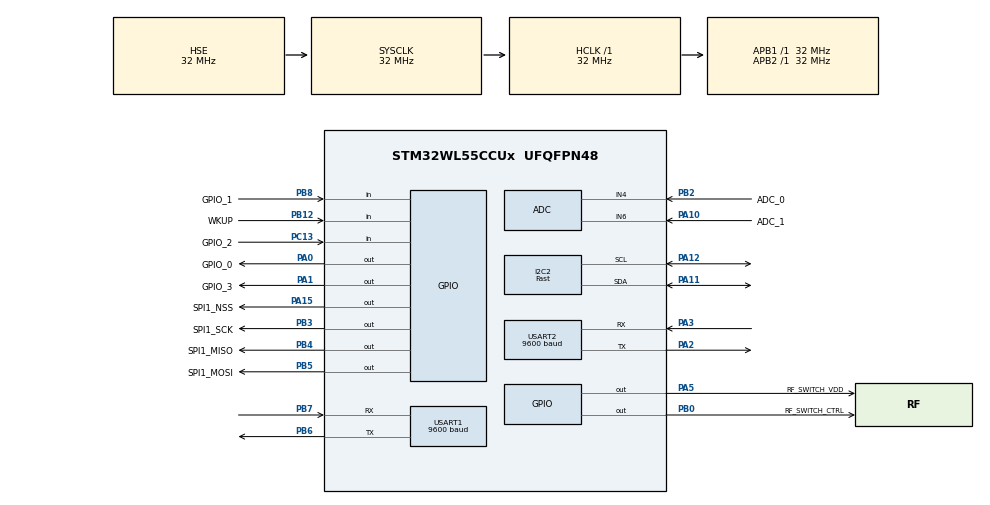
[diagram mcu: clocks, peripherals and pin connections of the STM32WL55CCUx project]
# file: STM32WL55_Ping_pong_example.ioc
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ADC.NbrOfConversion=1
ADC.SelectedChannel=ADC_CHANNEL_4|ADC_CHANNEL_6
FREERTOS.BinarySemaphores01=radioBinarySem,Static,radioBinarySemControlBlock;mainBinarySem,Static,mainBinarySemControlBlock
FREERTOS.Tasks01=radioTask,24,128,StartRadioTask,Default,NULL,Static,radioTaskBuffer,radioTaskControlBlock;mainTask,24,128,StartMainTask,Default,NULL,Static,mainTaskBuffer,mainTaskControlBlock
FREERTOS.Timers01=mainTimer,mainTimerCallback,osTimerPeriodic,Default,NULL,Static,mainTimerControlBlock
FREERTOS.configUSE_IDLE_HOOK=0
FREERTOS.configUSE_NEWLIB_REENTRANT=1
FREERTOS.configUSE_TICKLESS_IDLE=1
I2C2.I2C_Speed_Mode=I2C_Fast
I2C2.Timing=0x00300F38
LPTIM1.ClockPrescaler=LPTIM_PRESCALER_DIV1
Mcu.Family=STM32WL
Mcu.Name=STM32WL55CCUx
Mcu.Package=UFQFPN48
NVIC.PriorityGroup=NVIC_PRIORITYGROUP_4
NVIC.SUBGHZ_Radio_IRQn=true\:5\:0\:false\:false\:true\:true\:true\:true
NVIC.TIM17_IRQn=true\:15\:0\:false\:false\:true\:false\:false\:true
NVIC.TimeBase=TIM17_IRQn
NVIC.TimeBaseIP=TIM17
NVIC.USART1_IRQn=true\:5\:0\:false\:false\:true\:true\:true\:true
NVIC.USART2_IRQn=true\:5\:0\:false\:false\:true\:true\:true\:true
OSC_IN.Mode=HSE-External-Oscillator
OSC_IN.Signal=RCC_OSC_IN
OSC_OUT.Mode=HSE-External-Oscillator
OSC_OUT.Signal=RCC_OSC_OUT
PA0.GPIO_Label=GPIO_0
PA0.Signal=GPIO_Output
PA1.GPIO_Label=GPIO_3
PA1.Signal=GPIO_Output
PA10.GPIO_Label=ADC_1
PA10.Mode=IN6
PA10.Signal=ADC_IN6
PA11.Mode=I2C
PA11.Signal=I2C2_SDA
PA12.Mode=I2C
PA12.Signal=I2C2_SCL
PA13.Signal=DEBUG_JTMS-SWDIO
PA14.Signal=DEBUG_JTCK-SWCLK
PA15.GPIO_Label=SPI1_NSS
PA15.Signal=GPIO_Output
PA2.Mode=Asynchronous
PA2.Signal=USART2_TX
PA3.Mode=Asynchronous
PA3.Signal=USART2_RX
PA5.GPIO_Label=RF_SWITCH_VDD
PA5.Signal=GPIO_Output
PB0-VDD_TCXO.GPIO_Label=RF_SWITCH_CTRL
PB0-VDD_TCXO.Signal=GPIO_Output
PB12.GPIO_Label=WKUP
PB12.Signal=GPIO_Input
PB2.GPIO_Label=ADC_0
PB2.Mode=IN4
PB2.Signal=ADC_IN4
PB3.GPIO_Label=SPI1_SCK
PB3.Signal=GPIO_Output
PB4.GPIO_Label=SPI1_MISO
PB4.Signal=GPIO_Output
PB5.GPIO_Label=SPI1_MOSI
PB5.Signal=GPIO_Output
PB6.Mode=Asynchronous
PB6.Signal=USART1_TX
PB7.Mode=Asynchronous
PB7.Signal=USART1_RX
PB8.GPIO_Label=GPIO_1
PB8.Signal=GPIO_Input
PC13.GPIO_Label=GPIO_2
PC13.Signal=GPIO_Input
PC14-OSC32_IN.Mode=LSE-External-Oscillator
PC14-OSC32_IN.Signal=RCC_OSC32_IN
PC15-OSC32_OUT.Mode=LSE-External-Oscillator
PC15-OSC32_OUT.Signal=RCC_OSC32_OUT
ProjectManager.HeapSize=0x200
ProjectManager.StackSize=0x400
ProjectManager.TargetToolchain=STM32CubeIDE
RCC.AHBFreq_Value=32000000
RCC.APB1Freq_Value=32000000
RCC.APB1TimFreq_Value=32000000
RCC.APB2Freq_Value=32000000
RCC.APB2TimFreq_Value=32000000
RCC.APB3Freq_Value=32000000
RCC.CortexFreq_Value=32000000
RCC.HCLKFreq_Value=32000000
RCC.HSE_VALUE=32000000
RCC.HSI_VALUE=16000000
RCC.LSE_VALUE=32768
RCC.SYSCLKFreq_VALUE=32000000
RCC.SYSCLKSource=RCC_SYSCLKSOURCE_HSE
RCC.VCOOutputFreq_Value=32000000
SUBGHZ_PHY.TX_RFO_CONFIG=RBI_CONF_RFO_HP
USART1.BaudRate=9600
USART1.VirtualMode-Asynchronous=VM_ASYNC
USART2.BaudRate=9600
USART2.VirtualMode-Asynchronous=VM_ASYNC
VP_ADV_TRACE_VS_ADV_TRACE.Mode=ADV_TRACE_Enabled
VP_FREERTOS_VS_CMSIS_V2.Mode=CMSIS_V2
VP_LPTIM1_VS_LPTIM_counterModeInternalClock.Mode=Counts__internal_clock_event_00
VP_MISC_VS_MISC.Mode=MISC_Enabled
VP_RTC_VS_RTC_Activate.Mode=RTC_Enabled
VP_SUBGHZ_PHY_VS_SubGhzPhy.Mode=SubGhzPhy_Enabled
VP_SUBGHZ_VS_SUBGHZ.Mode=SUBGHZ_Activate
VP_SYS_VS_tim17.Mode=TIM17
VP_TIMER_VS_TIMER.Mode=TIMER_Enabled
VP_TINY_LPM_VS_TINY_LPM.Mode=TINY_LPM_Enabled
board=custom

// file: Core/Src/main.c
/* USER CODE BEGIN Header */
/**
 ******************************************************************************
 * @file           : main.c
 * @brief          : Main program body
 ******************************************************************************
 * @attention
 *
 * Copyright (c) 2022 STMicroelectronics.
 * All rights reserved.
 *
 * This software is licensed under terms that can be found in the LICENSE file
 * in the root directory of this software component.
 * If no LICENSE file comes with this software, it is provided AS-IS.
 *
 ******************************************************************************
 */
/* USER CODE END Header */
#include "main.h"
#include "cmsis_os.h"
#include "app_subghz_phy.h"

/* USER CODE BEGIN Includes */

#include <string.h>
#include "board_define.h"
#include "protocol.h"
#include "radio_pin_manager.h"

/* USER CODE END Includes */

typedef StaticTask_t osStaticThreadDef_t;
typedef StaticTimer_t osStaticTimerDef_t;
typedef StaticSemaphore_t osStaticSemaphoreDef_t;
/* USER CODE BEGIN PTD */

typedef enum {

	RADIO_TX_START = 0, RADIO_RX_START, RADIO_SLEEP

} radio_state_t;

/* USER CODE END PTD */

/* USER CODE BEGIN PD */

#define UART_BUFFER_SIZE 255
#define RADIO_TX_TIMEOUT_COUNT 1000
#define RADIO_RX_TIMEOUT_COUNT 1000

/* USER CODE END PD */

ADC_HandleTypeDef hadc;

I2C_HandleTypeDef hi2c2;

LPTIM_HandleTypeDef hlptim1;

RTC_HandleTypeDef hrtc;

SUBGHZ_HandleTypeDef hsubghz;

UART_HandleTypeDef huart1;
UART_HandleTypeDef huart2;

/* Definitions for radioTask */
osThreadId_t radioTaskHandle;
uint32_t radioTaskBuffer[128];
osStaticThreadDef_t radioTaskControlBlock;
const osThreadAttr_t radioTask_attributes = { .name = "radioTask", .stack_mem =
		&radioTaskBuffer[0], .stack_size = sizeof(radioTaskBuffer), .cb_mem =
		&radioTaskControlBlock, .cb_size = sizeof(radioTaskControlBlock),
		.priority = (osPriority_t) osPriorityNormal, };
/* Definitions for mainTask */
osThreadId_t mainTaskHandle;
uint32_t mainTaskBuffer[128];
osStaticThreadDef_t mainTaskControlBlock;
const osThreadAttr_t mainTask_attributes = { .name = "mainTask", .stack_mem =
		&mainTaskBuffer[0], .stack_size = sizeof(mainTaskBuffer), .cb_mem =
		&mainTaskControlBlock, .cb_size = sizeof(mainTaskControlBlock),
		.priority = (osPriority_t) osPriorityNormal, };
/* Definitions for mainTimer */
osTimerId_t mainTimerHandle;
osStaticTimerDef_t mainTimerControlBlock;
const osTimerAttr_t mainTimer_attributes = { .name = "mainTimer", .cb_mem =
		&mainTimerControlBlock, .cb_size = sizeof(mainTimerControlBlock), };
/* Definitions for radioBinarySem */
osSemaphoreId_t radioBinarySemHandle;
osStaticSemaphoreDef_t radioBinarySemControlBlock;
const osSemaphoreAttr_t radioBinarySem_attributes = { .name = "radioBinarySem",
		.cb_mem = &radioBinarySemControlBlock, .cb_size =
				sizeof(radioBinarySemControlBlock), };
/* Definitions for mainBinarySem */
osSemaphoreId_t mainBinarySemHandle;
osStaticSemaphoreDef_t mainBinarySemControlBlock;
const osSemaphoreAttr_t mainBinarySem_attributes = { .name = "mainBinarySem",
		.cb_mem = &mainBinarySemControlBlock, .cb_size =
				sizeof(mainBinarySemControlBlock), };
/* USER CODE BEGIN PV */

const uint16_t COMPANY_ID = 0x0000;
const uint16_t DEVICE_ID = 0x0000;

static uint8_t mac_address[MAC_ADDRESS_SIZE];

static uint16_t uart_tx_buffer_length = 0x00;
static uint8_t uart_tx_buffer[UART_BUFFER_SIZE] = { 0x00 };

static uint8_t radio_packet_protocol_size = 0;
static radio_packet_protocol_t radio_packet_protocol;

static volatile radio_state_t radio_state = RADIO_SLEEP;
static uint16_t radio_timer_count = 0;

static uint8_t radio_tx_buffer_size = 0;
static uint8_t radio_tx_buffer[128] = { 0x00 };

static int16_t radio_rx_rssi = 0;
static int8_t radio_rx_snr = 0;
static uint8_t radio_rx_buffer_size = 0;
static uint8_t radio_rx_buffer[128] = { 0x00 };

static uint8_t uart_2_data = 0x00;
static uint8_t uart_rx_buffer_size = 0;
static uint8_t uart_rx_buffer[128] = { 0x00 };

#ifdef EXAMPLE_TX

static volatile uint8_t cycle_timeout_count = 0;

#endif

/* USER CODE END PV */

void SystemClock_Config(void);
static void MX_GPIO_Init(void);
static void MX_LPTIM1_Init(void);
static void MX_RTC_Init(void);
static void MX_ADC_Init(void);
static void MX_I2C2_Init(void);
static void MX_USART1_UART_Init(void);
static void MX_USART2_UART_Init(void);
void StartRadioTask(void *argument);
void StartMainTask(void *argument);
void mainTimerCallback(void *argument);

int main(void) {

	/* MCU Configuration--------------------------------------------------------*/

	/* Reset of all peripherals, Initializes the Flash interface and the Systick. */
	HAL_Init();

	/* Configure the system clock */
	SystemClock_Config();

	/* Initialize all configured peripherals */
	MX_GPIO_Init();
	MX_SUBGHZ_Init();
	MX_LPTIM1_Init();
	MX_RTC_Init();
	MX_ADC_Init();
	MX_I2C2_Init();
	MX_USART1_UART_Init();
	MX_USART2_UART_Init();

	/* Init scheduler */
	osKernelInitialize();

	/* Create the semaphores(s) */
	/* creation of radioBinarySem */
	radioBinarySemHandle = osSemaphoreNew(1, 0, &radioBinarySem_attributes);

	/* creation of mainBinarySem */
	mainBinarySemHandle = osSemaphoreNew(1, 0, &mainBinarySem_attributes);

	/* Create the timer(s) */
	/* creation of mainTimer */
	mainTimerHandle = osTimerNew(mainTimerCallback, osTimerPeriodic, NULL,
			&mainTimer_attributes);

	/* Create the thread(s) */
	/* creation of radioTask */
	radioTaskHandle = osThreadNew(StartRadioTask, NULL, &radioTask_attributes);

	/* creation of mainTask */
	mainTaskHandle = osThreadNew(StartMainTask, NULL, &mainTask_attributes);

	/* Start scheduler */
	osKernelStart();

	/* We should never get here as control is now taken by the scheduler */
	/* Infinite loop */
	while (1) {

	}
}

void SystemClock_Config(void) {
	RCC_OscInitTypeDef RCC_OscInitStruct = { 0 };
	RCC_ClkInitTypeDef RCC_ClkInitStruct = { 0 };

	/** Configure the main internal regulator output voltage
	 */
	__HAL_PWR_VOLTAGESCALING_CONFIG(PWR_REGULATOR_VOLTAGE_SCALE1);
	/** Initializes the CPU, AHB and APB busses clocks
	 */
	RCC_OscInitStruct.OscillatorType = RCC_OSCILLATORTYPE_LSI
			| RCC_OSCILLATORTYPE_HSE;
	RCC_OscInitStruct.HSEState = RCC_HSE_ON;
	RCC_OscInitStruct.LSIDiv = RCC_LSI_DIV1;
	RCC_OscInitStruct.HSEDiv = RCC_HSE_DIV1;
	RCC_OscInitStruct.LSIState = RCC_LSI_ON;
	RCC_OscInitStruct.PLL.PLLState = RCC_PLL_NONE;
	if (HAL_RCC_OscConfig(&RCC_OscInitStruct) != HAL_OK) {
		Error_Handler();
	}
	/** Configure the SYSCLKSource, HCLK, PCLK1 and PCLK2 clocks dividers
	 */
	RCC_ClkInitStruct.ClockType = RCC_CLOCKTYPE_HCLK3 | RCC_CLOCKTYPE_HCLK
			| RCC_CLOCKTYPE_SYSCLK | RCC_CLOCKTYPE_PCLK1 | RCC_CLOCKTYPE_PCLK2;
	RCC_ClkInitStruct.SYSCLKSource = RCC_SYSCLKSOURCE_HSE;
	RCC_ClkInitStruct.AHBCLKDivider = RCC_SYSCLK_DIV1;
	RCC_ClkInitStruct.APB1CLKDivider = RCC_HCLK_DIV1;
	RCC_ClkInitStruct.APB2CLKDivider = RCC_HCLK_DIV1;
	RCC_ClkInitStruct.AHBCLK3Divider = RCC_SYSCLK_DIV1;

	if (HAL_RCC_ClockConfig(&RCC_ClkInitStruct, FLASH_LATENCY_1) != HAL_OK) {
		Error_Handler();
	}
}

static void MX_ADC_Init(void) {

	/** Configure the global features of the ADC (Clock, Resolution, Data Alignment and number of conversion)
	 */
	hadc.Instance = ADC;
	hadc.Init.ClockPrescaler = ADC_CLOCK_SYNC_PCLK_DIV1;
	hadc.Init.Resolution = ADC_RESOLUTION_12B;
	hadc.Init.DataAlign = ADC_DATAALIGN_RIGHT;
	hadc.Init.ScanConvMode = ADC_SCAN_DISABLE;
	hadc.Init.EOCSelection = ADC_EOC_SINGLE_CONV;
	hadc.Init.LowPowerAutoWait = DISABLE;
	hadc.Init.LowPowerAutoPowerOff = DISABLE;
	hadc.Init.ContinuousConvMode = DISABLE;
	hadc.Init.NbrOfConversion = 1;
	hadc.Init.DiscontinuousConvMode = DISABLE;
	hadc.Init.ExternalTrigConv = ADC_SOFTWARE_START;
	hadc.Init.ExternalTrigConvEdge = ADC_EXTERNALTRIGCONVEDGE_NONE;
	hadc.Init.DMAContinuousRequests = DISABLE;
	hadc.Init.Overrun = ADC_OVR_DATA_PRESERVED;
	hadc.Init.SamplingTimeCommon1 = ADC_SAMPLETIME_1CYCLE_5;
	hadc.Init.SamplingTimeCommon2 = ADC_SAMPLETIME_1CYCLE_5;
	hadc.Init.OversamplingMode = DISABLE;
	hadc.Init.TriggerFrequencyMode = ADC_TRIGGER_FREQ_HIGH;
	if (HAL_ADC_Init(&hadc) != HAL_OK) {
		Error_Handler();
	}

}

static void MX_I2C2_Init(void) {

	hi2c2.Instance = I2C2;
	hi2c2.Init.Timing = 0x00300F38;
	hi2c2.Init.OwnAddress1 = 0;
	hi2c2.Init.AddressingMode = I2C_ADDRESSINGMODE_7BIT;
	hi2c2.Init.DualAddressMode = I2C_DUALADDRESS_DISABLE;
	hi2c2.Init.OwnAddress2 = 0;
	hi2c2.Init.OwnAddress2Masks = I2C_OA2_NOMASK;
	hi2c2.Init.GeneralCallMode = I2C_GENERALCALL_DISABLE;
	hi2c2.Init.NoStretchMode = I2C_NOSTRETCH_DISABLE;
	if (HAL_I2C_Init(&hi2c2) != HAL_OK) {
		Error_Handler();
	}
	/** Configure Analogue filter
	 */
	if (HAL_I2CEx_ConfigAnalogFilter(&hi2c2, I2C_ANALOGFILTER_ENABLE)
			!= HAL_OK) {
		Error_Handler();
	}
	/** Configure Digital filter
	 */
	if (HAL_I2CEx_ConfigDigitalFilter(&hi2c2, 0) != HAL_OK) {
		Error_Handler();
	}

}

static void MX_LPTIM1_Init(void) {

	hlptim1.Instance = LPTIM1;
	hlptim1.Init.Clock.Source = LPTIM_CLOCKSOURCE_APBCLOCK_LPOSC;
	hlptim1.Init.Clock.Prescaler = LPTIM_PRESCALER_DIV1;
	hlptim1.Init.Trigger.Source = LPTIM_TRIGSOURCE_SOFTWARE;
	hlptim1.Init.OutputPolarity = LPTIM_OUTPUTPOLARITY_HIGH;
	hlptim1.Init.UpdateMode = LPTIM_UPDATE_IMMEDIATE;
	hlptim1.Init.CounterSource = LPTIM_COUNTERSOURCE_INTERNAL;
	hlptim1.Init.Input1Source = LPTIM_INPUT1SOURCE_GPIO;
	hlptim1.Init.Input2Source = LPTIM_INPUT2SOURCE_GPIO;
	if (HAL_LPTIM_Init(&hlptim1) != HAL_OK) {
		Error_Handler();
	}

}

static void MX_RTC_Init(void) {

	/** Initialize RTC Only
	 */
	hrtc.Instance = RTC;
	hrtc.Init.HourFormat = RTC_HOURFORMAT_24;
	hrtc.Init.AsynchPrediv = 127;
	hrtc.Init.SynchPrediv = 255;
	hrtc.Init.OutPut = RTC_OUTPUT_DISABLE;
	hrtc.Init.OutPutRemap = RTC_OUTPUT_REMAP_NONE;
	hrtc.Init.OutPutPolarity = RTC_OUTPUT_POLARITY_HIGH;
	hrtc.Init.OutPutType = RTC_OUTPUT_TYPE_OPENDRAIN;
	hrtc.Init.OutPutPullUp = RTC_OUTPUT_PULLUP_NONE;
	hrtc.Init.BinMode = RTC_BINARY_NONE;
	if (HAL_RTC_Init(&hrtc) != HAL_OK) {
		Error_Handler();
	}

}

void MX_SUBGHZ_Init(void) {

	hsubghz.Init.BaudratePrescaler = SUBGHZSPI_BAUDRATEPRESCALER_8;
	if (HAL_SUBGHZ_Init(&hsubghz) != HAL_OK) {
		Error_Handler();
	}

}

static void MX_USART1_UART_Init(void) {

	huart1.Instance = USART1;
	huart1.Init.BaudRate = 9600;
	huart1.Init.WordLength = UART_WORDLENGTH_8B;
	huart1.Init.StopBits = UART_STOPBITS_1;
	huart1.Init.Parity = UART_PARITY_NONE;
	huart1.Init.Mode = UART_MODE_TX_RX;
	huart1.Init.HwFlowCtl = UART_HWCONTROL_NONE;
	huart1.Init.OverSampling = UART_OVERSAMPLING_16;
	huart1.Init.OneBitSampling = UART_ONE_BIT_SAMPLE_DISABLE;
	huart1.Init.ClockPrescaler = UART_PRESCALER_DIV1;
	huart1.AdvancedInit.AdvFeatureInit = UART_ADVFEATURE_NO_INIT;
	if (HAL_UART_Init(&huart1) != HAL_OK) {
		Error_Handler();
	}
	if (HAL_UARTEx_SetTxFifoThreshold(&huart1, UART_TXFIFO_THRESHOLD_1_8)
			!= HAL_OK) {
		Error_Handler();
	}
	if (HAL_UARTEx_SetRxFifoThreshold(&huart1, UART_RXFIFO_THRESHOLD_1_8)
			!= HAL_OK) {
		Error_Handler();
	}
	if (HAL_UARTEx_DisableFifoMode(&huart1) != HAL_OK) {
		Error_Handler();
	}

}

static void MX_USART2_UART_Init(void) {

	huart2.Instance = USART2;
	huart2.Init.BaudRate = 9600;
	huart2.Init.WordLength = UART_WORDLENGTH_8B;
	huart2.Init.StopBits = UART_STOPBITS_1;
	huart2.Init.Parity = UART_PARITY_NONE;
	huart2.Init.Mode = UART_MODE_TX_RX;
	huart2.Init.HwFlowCtl = UART_HWCONTROL_NONE;
	huart2.Init.OverSampling = UART_OVERSAMPLING_16;
	huart2.Init.OneBitSampling = UART_ONE_BIT_SAMPLE_DISABLE;
	huart2.Init.ClockPrescaler = UART_PRESCALER_DIV1;
	huart2.AdvancedInit.AdvFeatureInit = UART_ADVFEATURE_NO_INIT;
	if (HAL_UART_Init(&huart2) != HAL_OK) {
		Error_Handler();
	}
	if (HAL_UARTEx_SetTxFifoThreshold(&huart2, UART_TXFIFO_THRESHOLD_1_8)
			!= HAL_OK) {
		Error_Handler();
	}
	if (HAL_UARTEx_SetRxFifoThreshold(&huart2, UART_RXFIFO_THRESHOLD_1_8)
			!= HAL_OK) {
		Error_Handler();
	}
	if (HAL_UARTEx_DisableFifoMode(&huart2) != HAL_OK) {
		Error_Handler();
	}

}

static void MX_GPIO_Init(void) {
	GPIO_InitTypeDef GPIO_InitStruct = { 0 };

	/* GPIO Ports Clock Enable */
	__HAL_RCC_GPIOB_CLK_ENABLE();
	__HAL_RCC_GPIOA_CLK_ENABLE();
	__HAL_RCC_GPIOC_CLK_ENABLE();

	/*Configure GPIO pin Output Level */
	HAL_GPIO_WritePin(GPIOB,
	SPI1_SCK_Pin | SPI1_MISO_Pin | SPI1_MOSI_Pin | RF_SWITCH_CTRL_Pin,
			GPIO_PIN_RESET);

	/*Configure GPIO pin Output Level */
	HAL_GPIO_WritePin(GPIOA,
	GPIO_0_Pin | GPIO_3_Pin | RF_SWITCH_VDD_Pin | SPI1_NSS_Pin, GPIO_PIN_RESET);

	/*Configure GPIO pins : SPI1_SCK_Pin SPI1_MISO_Pin SPI1_MOSI_Pin RF_SWITCH_CTRL_Pin */
	GPIO_InitStruct.Pin = SPI1_SCK_Pin | SPI1_MISO_Pin | SPI1_MOSI_Pin
			| RF_SWITCH_CTRL_Pin;
	GPIO_InitStruct.Mode = GPIO_MODE_OUTPUT_PP;
	GPIO_InitStruct.Pull = GPIO_NOPULL;
	GPIO_InitStruct.Speed = GPIO_SPEED_FREQ_LOW;
	HAL_GPIO_Init(GPIOB, &GPIO_InitStruct);

	/*Configure GPIO pins : GPIO_1_Pin WKUP_Pin */
	GPIO_InitStruct.Pin = GPIO_1_Pin | WKUP_Pin;
	GPIO_InitStruct.Mode = GPIO_MODE_INPUT;
	GPIO_InitStruct.Pull = GPIO_NOPULL;
	HAL_GPIO_Init(GPIOB, &GPIO_InitStruct);

	/*Configure GPIO pins : GPIO_0_Pin GPIO_3_Pin RF_SWITCH_VDD_Pin SPI1_NSS_Pin */
	GPIO_InitStruct.Pin = GPIO_0_Pin | GPIO_3_Pin | RF_SWITCH_VDD_Pin
			| SPI1_NSS_Pin;
	GPIO_InitStruct.Mode = GPIO_MODE_OUTPUT_PP;
	GPIO_InitStruct.Pull = GPIO_NOPULL;
	GPIO_InitStruct.Speed = GPIO_SPEED_FREQ_LOW;
	HAL_GPIO_Init(GPIOA, &GPIO_InitStruct);

	/*Configure GPIO pin : GPIO_2_Pin */
	GPIO_InitStruct.Pin = GPIO_2_Pin;
	GPIO_InitStruct.Mode = GPIO_MODE_INPUT;
	GPIO_InitStruct.Pull = GPIO_NOPULL;
	HAL_GPIO_Init(GPIO_2_GPIO_Port, &GPIO_InitStruct);

}

/* USER CODE BEGIN 4 */

void HAL_UART_RxCpltCallback(UART_HandleTypeDef *huart) {

#ifdef EXAMPLE_TX

	if (huart->Instance == huart2.Instance) {

		uart_rx_buffer[uart_rx_buffer_size++] = uart_2_data;

		if (uart_rx_buffer_size >= sizeof(uart_rx_buffer)) {

			uart_rx_buffer_size = 0;

		}

		if (uart_2_data == '\n') {

			cycle_timeout_count = 0;
			osSemaphoreRelease(mainBinarySemHandle);

		}

		HAL_UART_Receive_IT(&huart2, &uart_2_data, 1);

	}

#endif

}

static void uart_usb_in_out_data_send(uint8_t *data, uint16_t size) {

	uint8_t send_data = 0x00;

	for (uint16_t i = 0; i < size; i++) {

		send_data = data[i];
		HAL_UART_Transmit(&huart2, &send_data, 1, 10);

	}

}

static void set_uart_usb_in_out_write_string(char *data) {

	uart_tx_buffer_length = 0;
	memset(uart_tx_buffer, 0x00, sizeof(uart_tx_buffer));

	uart_tx_buffer_length = sprintf((char*) uart_tx_buffer, "%s\r\n", data);

	uart_usb_in_out_data_send(uart_tx_buffer, uart_tx_buffer_length);

}

static void set_uart_usb_in_out_find_i2c_address(uint8_t address) {

	uart_tx_buffer_length = 0;
	memset(uart_tx_buffer, 0x00, sizeof(uart_tx_buffer));

	uart_tx_buffer_length = sprintf((char*) uart_tx_buffer,
			"I2C Address : %02X\r\n", address);

	uart_usb_in_out_data_send(uart_tx_buffer, uart_tx_buffer_length);

}

static void set_uart_usb_in_out_mac_address(uint8_t *mac_address) {

	uart_tx_buffer_length = 0;
	memset(uart_tx_buffer, 0x00, sizeof(uart_tx_buffer));

	uart_tx_buffer_length = sprintf((char*) uart_tx_buffer, "MAC Address : ");

	for (uint8_t i = 0; i < 8; i++) {

		uart_tx_buffer_length += sprintf(
				(char*) uart_tx_buffer + uart_tx_buffer_length, "%02X",
				mac_address[i]);

	}

	uart_tx_buffer_length += sprintf(
			(char*) uart_tx_buffer + uart_tx_buffer_length, "\r\n");

	uart_usb_in_out_data_send(uart_tx_buffer, uart_tx_buffer_length);

}

static void set_uart_usb_in_out_voltage(int16_t voltage) {

	uart_tx_buffer_length = 0;
	memset(uart_tx_buffer, 0x00, sizeof(uart_tx_buffer));

	uart_tx_buffer_length = sprintf((char*) uart_tx_buffer,
			"Voltage : %d V\r\n", voltage);

	uart_usb_in_out_data_send(uart_tx_buffer, uart_tx_buffer_length);

}

static void set_uart_usb_in_out_payload(
		radio_packet_protocol_t receive_radio_packet, int16_t rssi, int8_t snr) {

	uart_tx_buffer_length = 0;
	memset(uart_tx_buffer, 0x00, sizeof(uart_tx_buffer));

	uart_tx_buffer_length = sprintf((char*) uart_tx_buffer,
			"\r\nPacket Receive\r\n");

	uint16_t company_id = receive_radio_packet.Packet.company_id[0] << 8;
	company_id |= receive_radio_packet.Packet.company_id[1];

	uart_tx_buffer_length += sprintf(
			(char*) uart_tx_buffer + uart_tx_buffer_length,
			"Company ID : %d\r\n", company_id);

	uint16_t device_id = receive_radio_packet.Packet.device_id[0] << 8;
	device_id |= receive_radio_packet.Packet.device_id[1];

	uart_tx_buffer_length += sprintf(
			(char*) uart_tx_buffer + uart_tx_buffer_length,
			"Device ID : %d\r\n", device_id);

	uart_tx_buffer_length += sprintf(
			(char*) uart_tx_buffer + uart_tx_buffer_length, "MAC Address : ");

	for (uint8_t i = 0; i < 8; i++) {

		uart_tx_buffer_length += sprintf(
				(char*) uart_tx_buffer + uart_tx_buffer_length, "%02X",
				receive_radio_packet.Packet.mac_address[i]);

	}

	uart_tx_buffer_length += sprintf(
			(char*) uart_tx_buffer + uart_tx_buffer_length, "\r\n");

	uart_tx_buffer_length += sprintf(
			(char*) uart_tx_buffer + uart_tx_buffer_length,
			"Control Number : %d\r\n",
			receive_radio_packet.Packet.control_number);

	uart_tx_buffer_length += sprintf(
			(char*) uart_tx_buffer + uart_tx_buffer_length, "RSSI : %d\r\n",
			rssi);

	uart_tx_buffer_length += sprintf(
			(char*) uart_tx_buffer + uart_tx_buffer_length, "SNR : %d\r\n",
			snr);

	uart_tx_buffer_length += sprintf(
			(char*) uart_tx_buffer + uart_tx_buffer_length, "Payload : %s\r\n",
			receive_radio_packet.Packet.paylaod);

	uart_usb_in_out_data_send(uart_tx_buffer, uart_tx_buffer_length);

}

static uint8_t get_i2c_scan_address() {

	uint8_t count = 0;
	HAL_StatusTypeDef result;

	for (uint8_t i = 1; i < 128; i++) {

		result = HAL_I2C_IsDeviceReady(&hi2c2, (uint16_t) (i << 1), 2, 2);

		if (result == HAL_OK) {

			set_uart_usb_in_out_find_i2c_address(i);

			count++;

		}

	}

	return count;

}

static void get_voltage_level() {

	HAL_ADC_Start(&hadc);

	HAL_ADC_PollForConversion(&hadc, 10);
	float battery_adc = HAL_ADC_GetValue(&hadc);
	battery_adc = battery_adc * 3.3 / 4095;
	battery_adc *= 2;

	HAL_ADC_Stop(&hadc);

	set_uart_usb_in_out_voltage((int16_t) 4);

}

/* USER CODE END 4 */

void StartRadioTask(void *argument) {
	/* init code for SubGHz_Phy */
	MX_SubGHz_Phy_Init();
	/* USER CODE BEGIN 5 */

	HAL_GPIO_WritePin(RF_SWITCH_VDD_GPIO_Port, RF_SWITCH_VDD_Pin,
			GPIO_PIN_RESET);
	set_radio_pin_manager_rf_switch_vdd_pin(RF_SWITCH_VDD_GPIO_Port,
	RF_SWITCH_VDD_Pin);

	HAL_GPIO_WritePin(RF_SWITCH_CTRL_GPIO_Port, RF_SWITCH_CTRL_Pin,
			GPIO_PIN_RESET);
	set_radio_pin_manager_rf_switch_pin(RF_SWITCH_CTRL_GPIO_Port,
	RF_SWITCH_CTRL_Pin);

	/* Infinite loop */
	for (;;) {

#ifdef EXAMPLE_TX

		osSemaphoreAcquire(radioBinarySemHandle, osWaitForever);

		radio_timer_count = 0;
		radio_state = RADIO_TX_START;
		MX_SubGhz_Phy_SendPacket(radio_tx_buffer, radio_tx_buffer_size);

		osSemaphoreAcquire(radioBinarySemHandle, RADIO_TX_TIMEOUT_COUNT);

		if (MX_SubGhz_Phy_Get_SendPacket_State() == 0x01) {

			radio_timer_count = 0;
			radio_state = RADIO_RX_START;

			radio_rx_rssi = 0;
			radio_rx_snr = 0;
			radio_rx_buffer_size = 0;
			memset(radio_rx_buffer, 0x00, sizeof(radio_rx_buffer));

			MX_SubGhz_Phy_RecvicePacket();

			osSemaphoreAcquire(radioBinarySemHandle, RADIO_RX_TIMEOUT_COUNT);

			if (MX_SubGhz_Phy_Get_RecvicePacket_State() == 0x01) {

				MX_SubGhz_Phy_Get_RecvicePacket(&radio_rx_rssi, &radio_rx_snr,
						radio_rx_buffer, &radio_rx_buffer_size);

			}

		}

		radio_timer_count = 0;
		radio_state = RADIO_SLEEP;
		MX_SubGhz_Phy_Radio_Sleep();

		osSemaphoreRelease(mainBinarySemHandle);

#endif

#ifdef EXAMPLE_RX

		radio_timer_count = 0;
		radio_state = RADIO_RX_START;

		radio_rx_rssi = 0;
		radio_rx_snr = 0;
		radio_rx_buffer_size = 0;
		memset(radio_rx_buffer, 0x00, sizeof(radio_rx_buffer));

		MX_SubGhz_Phy_RecvicePacket();

		osSemaphoreAcquire(radioBinarySemHandle, osWaitForever);

		if (MX_SubGhz_Phy_Get_RecvicePacket_State() == 0x01) {

			MX_SubGhz_Phy_Get_RecvicePacket(&radio_rx_rssi, &radio_rx_snr,
					radio_rx_buffer, &radio_rx_buffer_size);

		}

		radio_timer_count = 0;
		radio_state = RADIO_TX_START;
		MX_SubGhz_Phy_SendPacket(radio_tx_buffer, radio_tx_buffer_size);

		osSemaphoreAcquire(radioBinarySemHandle, RADIO_TX_TIMEOUT_COUNT);

		if (MX_SubGhz_Phy_Get_SendPacket_State() == 0x01) {

		}

		radio_timer_count = 0;
		radio_state = RADIO_SLEEP;
		MX_SubGhz_Phy_Radio_Sleep();

		osSemaphoreRelease(mainBinarySemHandle);

		HAL_GPIO_TogglePin(GPIO_LED_2_Port, GPIO_LED_2_Pin);

		osDelay(10);

#endif

	}
	/* USER CODE END 5 */
}

void StartMainTask(void *argument) {
	/* USER CODE BEGIN StartMainTask */

	HAL_GPIO_WritePin(GPIO_LED_0_Port, GPIO_LED_0_Pin, 1);
	HAL_GPIO_WritePin(GPIO_LED_1_Port, GPIO_LED_1_Pin, 1);

	uint32_t ID1 = HAL_GetUIDw0();
	uint32_t ID2 = HAL_GetUIDw1();
	uint32_t ID3 = HAL_GetUIDw2();

	mac_address[7] = (ID1 + ID3) >> 24;
	mac_address[6] = (ID1 + ID3) >> 16;
	mac_address[5] = (ID1 + ID3) >> 8;
	mac_address[4] = (ID1 + ID3);
	mac_address[3] = ID2 >> 24;
	mac_address[2] = ID2 >> 16;
	mac_address[1] = ID2 >> 8;
	mac_address[0] = ID2;

	radio_packet_protocol.Packet.company_id[0] = COMPANY_ID >> 8;
	radio_packet_protocol.Packet.company_id[1] = COMPANY_ID;

	radio_packet_protocol.Packet.device_id[0] = DEVICE_ID >> 8;
	radio_packet_protocol.Packet.device_id[1] = DEVICE_ID;

	memcpy(radio_packet_protocol.Packet.mac_address, mac_address, 8);

	radio_packet_protocol.Packet.control_number = 0;

	memset(radio_packet_protocol.Packet.paylaod, 0x00,
			sizeof(radio_packet_protocol.Packet.paylaod));

	set_uart_usb_in_out_write_string("\r\n\r\n");

#ifdef EXAMPLE_TX

	set_uart_usb_in_out_write_string("Start AxDen TX Example");

#endif

#ifdef EXAMPLE_RX

	uart_rx_buffer_size = sprintf((char*) uart_rx_buffer, "Pong");

	radio_packet_protocol_size = PACKET_HEAD_SIZE;
	radio_packet_protocol_size += uart_rx_buffer_size;
	memcpy(radio_packet_protocol.Packet.paylaod, uart_rx_buffer,
			uart_rx_buffer_size);

	radio_tx_buffer_size = 0;
	memset(radio_tx_buffer, 0x0, sizeof(radio_tx_buffer));

	radio_tx_buffer_size = radio_packet_protocol_size;
	memcpy(radio_tx_buffer, radio_packet_protocol.buffer,
			radio_packet_protocol_size);

	set_uart_usb_in_out_write_string("Start AxDen RX Example");

#endif

	set_uart_usb_in_out_mac_address(mac_address);

	set_uart_usb_in_out_write_string("Start I2C scan");

	get_i2c_scan_address();

	get_voltage_level();

#ifdef EXAMPLE_TX

	HAL_UART_Receive_IT(&huart2, &uart_2_data, 1);

#endif

	if (mainTimerHandle != NULL) {

		osTimerStart(mainTimerHandle, 100);

	}

	/* Infinite loop */
	for (;;) {

#ifdef EXAMPLE_TX

		osSemaphoreAcquire(mainBinarySemHandle, osWaitForever);

		set_uart_usb_in_out_write_string("Start TX");

		memset(radio_packet_protocol.Packet.paylaod, 0x00,
				sizeof(radio_packet_protocol.Packet.paylaod));

		if (uart_rx_buffer_size == 0) {

			uart_rx_buffer_size = sprintf((char*) uart_rx_buffer, "Ping");

		}

		radio_packet_protocol_size = PACKET_HEAD_SIZE;
		radio_packet_protocol_size += uart_rx_buffer_size;
		memcpy(radio_packet_protocol.Packet.paylaod, uart_rx_buffer,
				uart_rx_buffer_size);

		radio_tx_buffer_size = 0;
		memset(radio_tx_buffer, 0x0, sizeof(radio_tx_buffer));

		radio_tx_buffer_size = radio_packet_protocol_size;
		memcpy(radio_tx_buffer, radio_packet_protocol.buffer,
				radio_packet_protocol_size);

		uart_rx_buffer_size = 0;
		memset(uart_rx_buffer, 0x0, sizeof(uart_rx_buffer));

		//TX Data
		osSemaphoreRelease(radioBinarySemHandle);

		//Print RX data
		osSemaphoreAcquire(mainBinarySemHandle, osWaitForever);

		if (radio_rx_buffer_size > 0) {

			memset(&radio_packet_protocol, 0x00,
					sizeof(radio_packet_protocol_t));

			memcpy(radio_packet_protocol.buffer, radio_rx_buffer,
					radio_rx_buffer_size);

			set_uart_usb_in_out_payload(radio_packet_protocol, radio_rx_rssi,
					radio_rx_snr);

		} else {

			set_uart_usb_in_out_write_string("RX Timeout");

		}

		HAL_GPIO_TogglePin(GPIO_LED_2_Port, GPIO_LED_2_Pin);

#endif

#ifdef EXAMPLE_RX

		osSemaphoreAcquire(mainBinarySemHandle, osWaitForever);

		if (radio_rx_buffer_size > 0) {

			memset(&radio_packet_protocol, 0x00,
					sizeof(radio_packet_protocol_t));

			memcpy(radio_packet_protocol.buffer, radio_rx_buffer,
					radio_rx_buffer_size);

			set_uart_usb_in_out_payload(radio_packet_protocol, radio_rx_rssi,
					radio_rx_snr);

		} else {

			set_uart_usb_in_out_write_string("RX Timeout");

		}

#endif

	}
	/* USER CODE END StartMainTask */
}

/* mainTimerCallback function */
void mainTimerCallback(void *argument) {
	/* USER CODE BEGIN mainTimerCallback */

#ifdef EXAMPLE_TX

	cycle_timeout_count++;

	if (cycle_timeout_count > 100) {

		cycle_timeout_count = 0;
		osSemaphoreRelease(mainBinarySemHandle);

	}

#endif

	if (HAL_GPIO_ReadPin(GPIO_BUTTON_0_Port, GPIO_BUTTON_0_Pin) == 0x01) {

		HAL_GPIO_TogglePin(GPIO_LED_0_Port, GPIO_LED_0_Pin);

	}

	if (HAL_GPIO_ReadPin(GPIO_BUTTON_1_Port, GPIO_BUTTON_1_Pin) == 0x01) {

		HAL_GPIO_TogglePin(GPIO_LED_1_Port, GPIO_LED_1_Pin);

	}

	/* USER CODE END mainTimerCallback */
}

void HAL_TIM_PeriodElapsedCallback(TIM_HandleTypeDef *htim) {
	if (htim->Instance == TIM17) {
		HAL_IncTick();
	}
}

void Error_Handler(void) {
	__disable_irq();
	while (1) {
	}
}

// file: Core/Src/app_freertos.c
/* USER CODE BEGIN Header */
/**
  ******************************************************************************
  * File Name          : app_freertos.c
  * Description        : Code for freertos applications
  ******************************************************************************
  * @attention
  *
  * Copyright (c) 2022 STMicroelectronics.
  * All rights reserved.
  *
  * This software is licensed under terms that can be found in the LICENSE file
  * in the root directory of this software component.
  * If no LICENSE file comes with this software, it is provided AS-IS.
  *
  ******************************************************************************
  */
/* USER CODE END Header */

#include "FreeRTOS.h"
#include "task.h"
#include "main.h"

/* USER CODE BEGIN PREPOSTSLEEP */
__weak void PreSleepProcessing(uint32_t *ulExpectedIdleTime)
{
/* place for user code */
}

__weak void PostSleepProcessing(uint32_t *ulExpectedIdleTime)
{
/* place for user code */
}
/* USER CODE END PREPOSTSLEEP */
